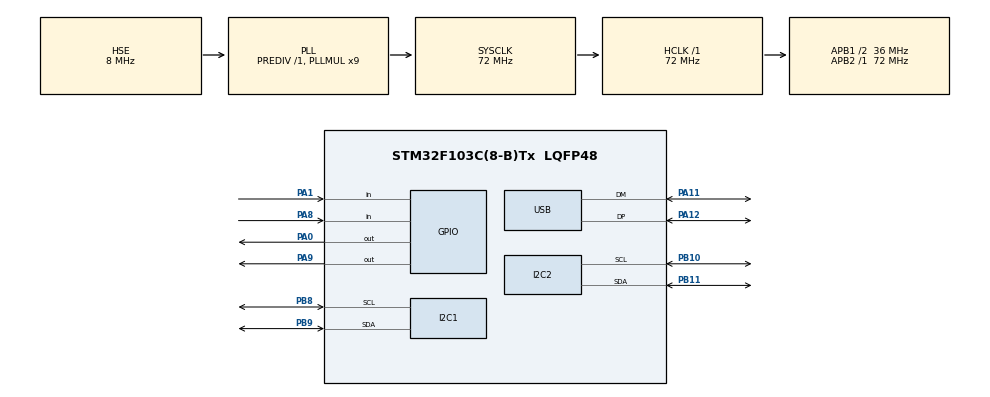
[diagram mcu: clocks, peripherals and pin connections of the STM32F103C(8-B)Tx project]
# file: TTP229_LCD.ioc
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Mcu.Family=STM32F1
Mcu.Name=STM32F103C(8-B)Tx
Mcu.Package=LQFP48
NVIC.PriorityGroup=NVIC_PRIORITYGROUP_4
NVIC.TIM2_IRQn=true\:15\:0\:false\:false\:true\:false\:true\:true
NVIC.TimeBase=TIM2_IRQn
NVIC.TimeBaseIP=TIM2
NVIC.USB_LP_CAN1_RX0_IRQn=true\:0\:0\:false\:false\:true\:false\:true\:true
PA0-WKUP.Signal=GPIO_Output
PA1.Signal=GPIO_Input
PA11.Mode=Device
PA11.Signal=USB_DM
PA12.Mode=Device
PA12.Signal=USB_DP
PA13.Mode=Serial_Wire
PA13.Signal=SYS_JTMS-SWDIO
PA14.Mode=Serial_Wire
PA14.Signal=SYS_JTCK-SWCLK
PA8.GPIO_PuPd=GPIO_PULLUP
PA8.Signal=GPIO_Input
PA9.GPIO_PuPd=GPIO_NOPULL
PA9.GPIO_Speed=GPIO_SPEED_FREQ_HIGH
PA9.PinState=GPIO_PIN_SET
PA9.Signal=GPIO_Output
PB10.Mode=I2C
PB10.Signal=I2C2_SCL
PB11.Mode=I2C
PB11.Signal=I2C2_SDA
PB8.Mode=I2C
PB8.Signal=I2C1_SCL
PB9.Mode=I2C
PB9.Signal=I2C1_SDA
PD0-OSC_IN.Mode=HSE-External-Oscillator
PD0-OSC_IN.Signal=RCC_OSC_IN
PD1-OSC_OUT.Mode=HSE-External-Oscillator
PD1-OSC_OUT.Signal=RCC_OSC_OUT
ProjectManager.HeapSize=0x200
ProjectManager.StackSize=0x400
ProjectManager.TargetToolchain=STM32CubeIDE
RCC.AHBFreq_Value=72000000
RCC.APB1CLKDivider=RCC_HCLK_DIV2
RCC.APB1Freq_Value=36000000
RCC.APB1TimFreq_Value=72000000
RCC.APB2Freq_Value=72000000
RCC.APB2TimFreq_Value=72000000
RCC.HCLKFreq_Value=72000000
RCC.PLLMUL=RCC_PLL_MUL9
RCC.PLLSourceVirtual=RCC_PLLSOURCE_HSE
RCC.SYSCLKFreq_VALUE=72000000
RCC.SYSCLKSource=RCC_SYSCLKSOURCE_PLLCLK
RCC.USBFreq_Value=48000000
RCC.USBPrescaler=RCC_USBCLKSOURCE_PLL_DIV1_5
USB_DEVICE.CLASS_NAME_FS=CDC
USB_DEVICE.VirtualMode=Cdc
USB_DEVICE.VirtualModeFS=Cdc_FS
VP_SYS_VS_tim2.Mode=TIM2
VP_USB_DEVICE_VS_USB_DEVICE_CDC_FS.Mode=CDC_FS
board=custom

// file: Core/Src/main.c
/* USER CODE BEGIN Header */
/**
  ******************************************************************************
  * @file           : main.c
  * @brief          : Main program body
  ******************************************************************************
  * @attention
  *
  * Copyright (c) 2023 STMicroelectronics.
  * All rights reserved.
  *
  * This software is licensed under terms that can be found in the LICENSE file
  * in the root directory of this software component.
  * If no LICENSE file comes with this software, it is provided AS-IS.
  *
  ******************************************************************************
  */
/* USER CODE END Header */
#include "main.h"
#include "usb_device.h"

/* USER CODE BEGIN Includes */
#include "string.h"
#include "usbd_cdc_if.h"
/* USER CODE END Includes */

I2C_HandleTypeDef hi2c1;
I2C_HandleTypeDef hi2c2;

void SystemClock_Config(void);
static void MX_GPIO_Init(void);
static void MX_I2C1_Init(void);
static void MX_I2C2_Init(void);

/* USER CODE BEGIN 0 */

uint8_t Key;
char data[10];
uint8_t Read_Keypad(void);
/* USER CODE END 0 */

int main(void)
{

  /* MCU Configuration--------------------------------------------------------*/

  /* Reset of all peripherals, Initializes the Flash interface and the Systick. */
  HAL_Init();

  /* Configure the system clock */
  SystemClock_Config();

  /* Initialize all configured peripherals */
  MX_GPIO_Init();
  MX_I2C1_Init();
  MX_USB_DEVICE_Init();
  MX_I2C2_Init();

  /* Infinite loop */
  while (1)
  {

    /* USER CODE BEGIN 3 */
	  Key = Read_Keypad();
	  if (Key)
	  {
			sprintf(data,"key: %d\r\n",Key);
			CDC_Transmit_FS((uint8_t*)data, strlen(data));
	  }
	  HAL_Delay(100);
  }
  /* USER CODE END 3 */
}

void SystemClock_Config(void)
{
  RCC_OscInitTypeDef RCC_OscInitStruct = {0};
  RCC_ClkInitTypeDef RCC_ClkInitStruct = {0};
  RCC_PeriphCLKInitTypeDef PeriphClkInit = {0};

  /** Initializes the RCC Oscillators according to the specified parameters
  * in the RCC_OscInitTypeDef structure.
  */
  RCC_OscInitStruct.OscillatorType = RCC_OSCILLATORTYPE_HSE;
  RCC_OscInitStruct.HSEState = RCC_HSE_ON;
  RCC_OscInitStruct.HSEPredivValue = RCC_HSE_PREDIV_DIV1;
  RCC_OscInitStruct.HSIState = RCC_HSI_ON;
  RCC_OscInitStruct.PLL.PLLState = RCC_PLL_ON;
  RCC_OscInitStruct.PLL.PLLSource = RCC_PLLSOURCE_HSE;
  RCC_OscInitStruct.PLL.PLLMUL = RCC_PLL_MUL9;
  if (HAL_RCC_OscConfig(&RCC_OscInitStruct) != HAL_OK)
  {
    Error_Handler();
  }

  /** Initializes the CPU, AHB and APB buses clocks
  */
  RCC_ClkInitStruct.ClockType = RCC_CLOCKTYPE_HCLK|RCC_CLOCKTYPE_SYSCLK
                              |RCC_CLOCKTYPE_PCLK1|RCC_CLOCKTYPE_PCLK2;
  RCC_ClkInitStruct.SYSCLKSource = RCC_SYSCLKSOURCE_PLLCLK;
  RCC_ClkInitStruct.AHBCLKDivider = RCC_SYSCLK_DIV1;
  RCC_ClkInitStruct.APB1CLKDivider = RCC_HCLK_DIV2;
  RCC_ClkInitStruct.APB2CLKDivider = RCC_HCLK_DIV1;

  if (HAL_RCC_ClockConfig(&RCC_ClkInitStruct, FLASH_LATENCY_2) != HAL_OK)
  {
    Error_Handler();
  }
  PeriphClkInit.PeriphClockSelection = RCC_PERIPHCLK_USB;
  PeriphClkInit.UsbClockSelection = RCC_USBCLKSOURCE_PLL_DIV1_5;
  if (HAL_RCCEx_PeriphCLKConfig(&PeriphClkInit) != HAL_OK)
  {
    Error_Handler();
  }
}

static void MX_I2C1_Init(void)
{

  hi2c1.Instance = I2C1;
  hi2c1.Init.ClockSpeed = 100000;
  hi2c1.Init.DutyCycle = I2C_DUTYCYCLE_2;
  hi2c1.Init.OwnAddress1 = 0;
  hi2c1.Init.AddressingMode = I2C_ADDRESSINGMODE_7BIT;
  hi2c1.Init.DualAddressMode = I2C_DUALADDRESS_DISABLE;
  hi2c1.Init.OwnAddress2 = 0;
  hi2c1.Init.GeneralCallMode = I2C_GENERALCALL_DISABLE;
  hi2c1.Init.NoStretchMode = I2C_NOSTRETCH_DISABLE;
  if (HAL_I2C_Init(&hi2c1) != HAL_OK)
  {
    Error_Handler();
  }

}

static void MX_I2C2_Init(void)
{

  hi2c2.Instance = I2C2;
  hi2c2.Init.ClockSpeed = 100000;
  hi2c2.Init.DutyCycle = I2C_DUTYCYCLE_2;
  hi2c2.Init.OwnAddress1 = 0;
  hi2c2.Init.AddressingMode = I2C_ADDRESSINGMODE_7BIT;
  hi2c2.Init.DualAddressMode = I2C_DUALADDRESS_DISABLE;
  hi2c2.Init.OwnAddress2 = 0;
  hi2c2.Init.GeneralCallMode = I2C_GENERALCALL_DISABLE;
  hi2c2.Init.NoStretchMode = I2C_NOSTRETCH_DISABLE;
  if (HAL_I2C_Init(&hi2c2) != HAL_OK)
  {
    Error_Handler();
  }

}

static void MX_GPIO_Init(void)
{
  GPIO_InitTypeDef GPIO_InitStruct = {0};

  /* GPIO Ports Clock Enable */
  __HAL_RCC_GPIOD_CLK_ENABLE();
  __HAL_RCC_GPIOA_CLK_ENABLE();
  __HAL_RCC_GPIOB_CLK_ENABLE();

  /*Configure GPIO pin Output Level */
  HAL_GPIO_WritePin(GPIOA, GPIO_PIN_0, GPIO_PIN_RESET);

  /*Configure GPIO pin Output Level */
  HAL_GPIO_WritePin(GPIOA, GPIO_PIN_9, GPIO_PIN_SET);

  /*Configure GPIO pin : PA0 */
  GPIO_InitStruct.Pin = GPIO_PIN_0;
  GPIO_InitStruct.Mode = GPIO_MODE_OUTPUT_PP;
  GPIO_InitStruct.Pull = GPIO_NOPULL;
  GPIO_InitStruct.Speed = GPIO_SPEED_FREQ_LOW;
  HAL_GPIO_Init(GPIOA, &GPIO_InitStruct);

  /*Configure GPIO pin : PA1 */
  GPIO_InitStruct.Pin = GPIO_PIN_1;
  GPIO_InitStruct.Mode = GPIO_MODE_INPUT;
  GPIO_InitStruct.Pull = GPIO_NOPULL;
  HAL_GPIO_Init(GPIOA, &GPIO_InitStruct);

  /*Configure GPIO pin : PA8 */
  GPIO_InitStruct.Pin = GPIO_PIN_8;
  GPIO_InitStruct.Mode = GPIO_MODE_INPUT;
  GPIO_InitStruct.Pull = GPIO_PULLUP;
  HAL_GPIO_Init(GPIOA, &GPIO_InitStruct);

  /*Configure GPIO pin : PA9 */
  GPIO_InitStruct.Pin = GPIO_PIN_9;
  GPIO_InitStruct.Mode = GPIO_MODE_OUTPUT_PP;
  GPIO_InitStruct.Pull = GPIO_NOPULL;
  GPIO_InitStruct.Speed = GPIO_SPEED_FREQ_HIGH;
  HAL_GPIO_Init(GPIOA, &GPIO_InitStruct);

}

/* USER CODE BEGIN 4 */
uint8_t Read_Keypad(void)
{
	  uint8_t count;
	  uint8_t key_state = 0;
	  for(count = 1;count<=16;count++)
		{
			HAL_GPIO_WritePin(GPIOA, GPIO_PIN_0, GPIO_PIN_RESET);
			if(HAL_GPIO_ReadPin(GPIOA, GPIO_PIN_1) == GPIO_PIN_RESET)
			{
				key_state = count;
			}
			HAL_GPIO_WritePin(GPIOA, GPIO_PIN_0, GPIO_PIN_SET);
		}
	  return key_state;
}
/* USER CODE END 4 */

void HAL_TIM_PeriodElapsedCallback(TIM_HandleTypeDef *htim)
{
  if (htim->Instance == TIM2) {
    HAL_IncTick();
  }
}

void Error_Handler(void)
{
  __disable_irq();
  while (1)
  {
  }
}
